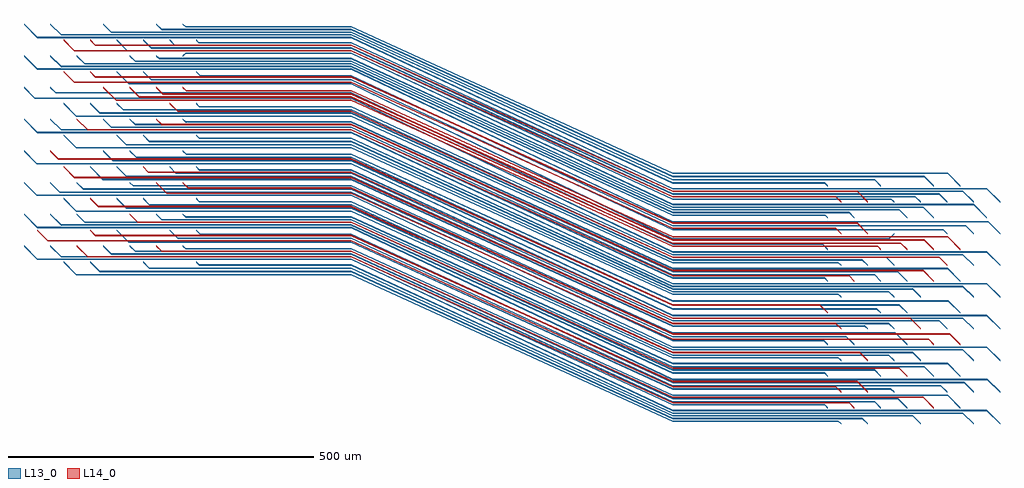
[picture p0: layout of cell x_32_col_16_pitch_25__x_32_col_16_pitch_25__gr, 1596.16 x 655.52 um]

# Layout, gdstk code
import gdstk
lib = gdstk.Library(unit=1e-6, precision=1e-09)
def R(c, l, rs):  # rectangles x0, y0, x1, y1
    for r in rs: c.add(gdstk.rectangle(r[:2], r[2:], *l))
def A(c, l, x, y, w, h, nx, ny, dx, dy):  # array of equal rectangles
    R(c, l, [(x+i*dx, y+j*dy, x+i*dx+w, y+j*dy+h) for i in range(nx) for j in range(ny)])
def P(c, l, *ps):  # polygons
    for p in ps: c.add(gdstk.Polygon(p, *l))
L13_0 = (13, 0)
L14_0 = (14, 0)

x_32_col_16_pitch_25__x_ = lib.new_cell('x_32_col_16_pitch_25__x_32_col_16_pitch_25__gr')
A(x_32_col_16_pitch_25__x_, L13_0, 2400, 1226.56, 271.46, 2, 1, 3, 0, 103.68)
A(x_32_col_16_pitch_25__x_, L13_0, 2400, 1235.2, 392.72, 2, 1, 3, 0, 103.68)
A(x_32_col_16_pitch_25__x_, L13_0, 2400, 1305.184, 248.946, 2, 1, 3, 0, 155.52)
A(x_32_col_16_pitch_25__x_, L13_0, 2400, 1310.368, 330.362, 2, 1, 3, 0, 155.52)
A(x_32_col_16_pitch_25__x_, L13_0, 2400, 1320.736, 449.894, 2, 1, 3, 0, 155.52)
A(x_32_col_16_pitch_25__x_, L13_0, 2400, 1334.56, 353.74, 2, 1, 3, 0, 51.84)
A(x_32_col_16_pitch_25__x_, L13_0, 2400, 1343.2, 475, 2, 1, 4, 0, 51.84)
A(x_32_col_16_pitch_25__x_, L13_0, 2400, 1347.52, 513.982, 2, 1, 4, 0, 51.84)
A(x_32_col_16_pitch_25__x_, L13_0, 1425.106, 1466.224, 449.894, 2, 1, 3, 0, 103.68)
A(x_32_col_16_pitch_25__x_, L13_0, 1544.638, 1476.592, 330.362, 2, 1, 3, 0, 103.68)
A(x_32_col_16_pitch_25__x_, L13_0, 1506.522, 1575.088, 368.478, 2, 1, 3, 0, 51.84)
A(x_32_col_16_pitch_25__x_, L13_0, 1626.054, 1585.456, 248.946, 2, 1, 4, 0, 51.84)
R(x_32_col_16_pitch_25__x_, L13_0, [(2400,1230.88,2710.44,1232.88), (2400,1239.52,2875,1241.52), (2400,1243.84,2913.982,1245.84), (2400,1253.344,2648.946,1255.344), (2400,1258.528,2730.362,1260.528), (2400,1263.712,2768.478,1265.712), (2400,1268.896,2849.894,1270.896), (2400,1279.264,2757.196,1281.264), (2400,1284.448,2838.612,1286.448), (2400,1289.632,2876.728,1291.632), (2400,1294.816,2914.846,1296.816), (2400,1315.552,2811.778,1317.552), (2400,1358.32,2647.65,1360.32), (2400,1364.8,2684.47,1366.8), (2400,1371.28,2764.59,1373.28), (2400,1382.08,2714.76,1384.08), (2400,1390.72,2836.02,1392.72), (2400,1410.16,2734.25,1412.16), (2400,1416.64,2771.07,1418.64), (2400,1423.12,2851.19,1425.12), (2400,1471.072,2768.478,1473.072), (1463.222,1471.408,1875,1473.408), (1626.054,1481.776,1875,1483.776), (2400,1485.76,2671.46,1487.76), (2400,1490.08,2710.44,1492.08), (1361.017,1491.28,1875,1493.28), (2400,1494.4,2749.42,1496.4), (1400,1495.6,1875,1497.6), (1482.28,1499.92,1875,1501.92), (1521.26,1504.24,1875,1506.24), (1603.54,1508.56,1875,1510.56), (2400,1516,2645.49,1518), (1510.41,1519.36,1875,1521.36), (2400,1524.64,2753.74,1526.64), (1590.53,1525.84,1875,1527.84), (1627.35,1532.32,1875,1534.32), (2400,1539.76,2842.5,1541.76), (1361.017,1543.12,1875,1545.12), (2400,1546.24,2879.32,1548.24), (1400,1547.44,1875,1549.44), (1438.98,1551.76,1875,1553.76), (2400,1552.72,2916.142,1554.72), (1564.56,1556.08,1875,1558.08), (1603.54,1560.4,1875,1562.4), (2400,1563.52,2649.81,1565.52), (2400,1567.84,2688.79,1569.84), (2400,1572.16,2771.07,1574.16), (2400,1576.48,2810.05,1578.48), (2400,1580.8,2892.332,1582.8), (2400,1589.44,2758.06,1591.44), (2400,1593.76,2797.04,1595.76), (1360.153,1595.824,1875,1597.824), (2400,1598.08,2836.02,1600.08), (1398.272,1601.008,1875,1603.008), (2400,1602.4,2875,1604.4), (1436.388,1606.192,1875,1608.192), (2400,1606.72,2913.982,1608.72), (1517.804,1611.376,1875,1613.376), (1468.406,1621.744,1875,1623.744), (2400,1626.592,2811.778,1628.592), (1587.938,1632.112,1875,1634.112), (1360.153,1647.664,1875,1649.664), (1484.872,1652.848,1875,1654.848), (1522.988,1658.032,1875,1660.032), (1604.404,1663.216,1875,1665.216), (1361.017,1698.64,1875,1700.64), (1400,1702.96,1875,1704.96), (1482.28,1707.28,1875,1709.28), (1521.26,1711.6,1875,1713.6), (1603.54,1715.92,1875,1717.92), (1425.106,1725.424,1875,1727.424), (1463.222,1730.608,1875,1732.608), (1501.338,1735.792,1875,1737.792), (1356.697,1754.8,1875,1756.8), (1391.36,1763.44,1875,1765.44), (1510.41,1778.56,1875,1780.56), (1547.23,1785.04,1875,1787.04), (1627.35,1791.52,1875,1793.52), (1361.017,1802.32,1875,1804.32), (1400,1806.64,1875,1808.64), (1438.98,1810.96,1875,1812.96), (1521.26,1815.28,1875,1817.28), (1560.24,1819.6,1875,1821.6), (1603.54,1828.24,1875,1830.24), (1508.25,1832.56,1875,1834.56), (1547.23,1836.88,1875,1838.88), (1586.21,1841.2,1875,1843.2), (1625.19,1845.52,1875,1847.52), (1361.017,1854.16,1875,1856.16), (1400,1858.48,1875,1860.48), (1482.28,1862.8,1875,1864.8), (1564.56,1867.12,1875,1869.12), (1603.54,1871.44,1875,1873.44)])
P(x_32_col_16_pitch_25__x_, L13_0, [(2654.13,1611.04),(2654.13,1613.04),(2648.946,1618.224),(2648.946,1616.224)],
  [(2400,1616.224),(2400,1618.224),(1875,1860.48),(1875,1858.48)],
  [(1400,1858.48),(1400,1860.48),(1382.72,1877.76),(1382.72,1875.76)],
  [(2740.73,1611.04),(2740.73,1613.04),(2730.362,1623.408),(2730.362,1621.408)],
  [(2400,1621.408),(2400,1623.408),(1875,1864.8),(1875,1862.8)],
  [(1482.28,1862.8),(1482.28,1864.8),(1469.32,1877.76),(1469.32,1875.76)],
  [(2827.33,1611.04),(2827.33,1613.04),(2811.778,1628.592),(2811.778,1626.592)],
  [(2400,1626.592),(2400,1628.592),(1875,1869.12),(1875,1867.12)],
  [(1564.56,1867.12),(1564.56,1869.12),(1555.92,1877.76),(1555.92,1875.76)],
  [(2870.63,1611.04),(2870.63,1613.04),(2849.894,1633.776),(2849.894,1631.776)],
  [(2400,1631.776),(2400,1633.776),(1875,1873.44),(1875,1871.44)],
  [(1603.54,1871.44),(1603.54,1873.44),(1599.22,1877.76),(1599.22,1875.76)],
  [(2762.38,1585.12),(2762.38,1587.12),(2758.06,1591.44),(2758.06,1589.44)],
  [(2400,1589.44),(2400,1591.44),(1875,1834.56),(1875,1832.56)],
  [(1508.25,1832.56),(1508.25,1834.56),(1490.97,1851.84),(1490.97,1849.84)],
  [(2805.68,1585.12),(2805.68,1587.12),(2797.04,1595.76),(2797.04,1593.76)],
  [(2400,1593.76),(2400,1595.76),(1875,1838.88),(1875,1836.88)],
  [(1547.23,1836.88),(1547.23,1838.88),(1534.27,1851.84),(1534.27,1849.84)],
  [(2848.98,1585.12),(2848.98,1587.12),(2836.02,1600.08),(2836.02,1598.08)],
  [(2400,1598.08),(2400,1600.08),(1875,1843.2),(1875,1841.2)],
  [(1586.21,1841.2),(1586.21,1843.2),(1577.57,1851.84),(1577.57,1849.84)],
  [(2892.28,1585.12),(2892.28,1587.12),(2875,1604.4),(2875,1602.4)],
  [(2400,1602.4),(2400,1604.4),(1875,1847.52),(1875,1845.52)],
  [(1625.19,1845.52),(1625.19,1847.52),(1620.87,1851.84),(1620.87,1849.84)],
  [(2935.582,1585.12),(2935.582,1587.12),(2913.982,1608.72),(2913.982,1606.72)],
  [(2400,1606.72),(2400,1608.72),(1875,1856.16),(1875,1854.16)],
  [(1361.017,1854.16),(1361.017,1856.16),(1339.417,1877.76),(1339.417,1875.76)],
  [(2654.13,1559.2),(2654.13,1561.2),(2649.81,1565.52),(2649.81,1563.52)],
  [(2400,1563.52),(2400,1565.52),(1875,1808.64),(1875,1806.64)],
  [(1400,1806.64),(1400,1808.64),(1382.72,1825.92),(1382.72,1823.92)],
  [(2697.43,1559.2),(2697.43,1561.2),(2688.79,1569.84),(2688.79,1567.84)],
  [(2400,1567.84),(2400,1569.84),(1875,1812.96),(1875,1810.96)],
  [(1438.98,1810.96),(1438.98,1812.96),(1426.02,1825.92),(1426.02,1823.92)],
  [(2784.03,1559.2),(2784.03,1561.2),(2771.07,1574.16),(2771.07,1572.16)],
  [(2400,1572.16),(2400,1574.16),(1875,1817.28),(1875,1815.28)],
  [(1521.26,1815.28),(1521.26,1817.28),(1512.62,1825.92),(1512.62,1823.92)],
  [(2827.33,1559.2),(2827.33,1561.2),(2810.05,1578.48),(2810.05,1576.48)],
  [(2400,1576.48),(2400,1578.48),(1875,1821.6),(1875,1819.6)],
  [(1560.24,1819.6),(1560.24,1821.6),(1555.92,1825.92),(1555.92,1823.92)],
  [(2913.932,1559.2),(2913.932,1561.2),(2892.332,1582.8),(2892.332,1580.8)],
  [(2400,1580.8),(2400,1582.8),(1875,1830.24),(1875,1828.24)],
  [(1603.54,1828.24),(1603.54,1830.24),(1599.22,1825.92),(1599.22,1823.92)],
  [(2762.38,1533.28),(2762.38,1535.28),(2753.74,1526.64),(2753.74,1524.64)],
  [(2400,1524.64),(2400,1526.64),(1875,1780.56),(1875,1778.56)],
  [(1510.41,1778.56),(1510.41,1780.56),(1490.97,1800),(1490.97,1798)],
  [(2848.98,1533.28),(2848.98,1535.28),(2842.5,1541.76),(2842.5,1539.76)],
  [(2400,1539.76),(2400,1541.76),(1875,1787.04),(1875,1785.04)],
  [(1547.23,1785.04),(1547.23,1787.04),(1534.27,1800),(1534.27,1798)],
  [(2892.28,1533.28),(2892.28,1535.28),(2879.32,1548.24),(2879.32,1546.24)],
  [(2400,1546.24),(2400,1548.24),(1875,1793.52),(1875,1791.52)],
  [(1627.35,1791.52),(1627.35,1793.52),(1620.87,1800),(1620.87,1798)],
  [(2935.582,1533.28),(2935.582,1535.28),(2916.142,1554.72),(2916.142,1552.72)],
  [(2400,1552.72),(2400,1554.72),(1875,1804.32),(1875,1802.32)],
  [(1361.017,1802.32),(1361.017,1804.32),(1339.417,1825.92),(1339.417,1823.92)],
  [(2654.13,1507.36),(2654.13,1509.36),(2645.49,1518),(2645.49,1516)],
  [(2400,1516),(2400,1518),(1875,1765.44),(1875,1763.44)],
  [(1391.36,1763.44),(1391.36,1765.44),(1382.72,1774.08),(1382.72,1772.08)],
  [(2675.78,1481.44),(2675.78,1483.44),(2671.46,1487.76),(2671.46,1485.76)],
  [(2400,1485.76),(2400,1487.76),(1875,1727.424),(1875,1725.424)],
  [(1425.106,1725.424),(1425.106,1727.424),(1404.37,1748.16),(1404.37,1746.16)],
  [(2719.08,1481.44),(2719.08,1483.44),(2710.44,1492.08),(2710.44,1490.08)],
  [(2400,1490.08),(2400,1492.08),(1875,1732.608),(1875,1730.608)],
  [(1463.222,1730.608),(1463.222,1732.608),(1447.67,1748.16),(1447.67,1746.16)],
  [(2762.38,1481.44),(2762.38,1483.44),(2749.42,1496.4),(2749.42,1494.4)],
  [(2400,1494.4),(2400,1496.4),(1875,1737.792),(1875,1735.792)],
  [(1501.338,1735.792),(1501.338,1737.792),(1490.97,1748.16),(1490.97,1746.16)],
  [(2892.28,1481.44),(2892.28,1483.44),(2875,1500.72),(2875,1498.72)],
  [(2400,1498.72),(2400,1500.72),(1875,1742.976),(1875,1740.976)],
  [(1626.054,1740.976),(1626.054,1742.976),(1620.87,1748.16),(1620.87,1746.16)],
  [(2935.582,1481.44),(2935.582,1483.44),(2913.982,1505.04),(2913.982,1503.04)],
  [(2400,1503.04),(2400,1505.04),(1875,1756.8),(1875,1754.8)],
  [(1356.697,1754.8),(1356.697,1756.8),(1339.417,1774.08),(1339.417,1772.08)],
  [(2654.13,1455.52),(2654.13,1457.52),(2648.946,1462.704),(2648.946,1460.704)],
  [(2400,1460.704),(2400,1462.704),(1875,1704.96),(1875,1702.96)],
  [(1400,1702.96),(1400,1704.96),(1382.72,1722.24),(1382.72,1720.24)],
  [(2740.73,1455.52),(2740.73,1457.52),(2730.362,1467.888),(2730.362,1465.888)],
  [(2400,1465.888),(2400,1467.888),(1875,1709.28),(1875,1707.28)],
  [(1482.28,1707.28),(1482.28,1709.28),(1469.32,1722.24),(1469.32,1720.24)],
  [(2784.03,1455.52),(2784.03,1457.52),(2768.478,1473.072),(2768.478,1471.072)],
  [(2400,1471.072),(2400,1473.072),(1875,1713.6),(1875,1711.6)],
  [(1521.26,1711.6),(1521.26,1713.6),(1512.62,1722.24),(1512.62,1720.24)],
  [(2870.63,1455.52),(2870.63,1457.52),(2849.894,1478.256),(2849.894,1476.256)],
  [(2400,1476.256),(2400,1478.256),(1875,1717.92),(1875,1715.92)],
  [(1603.54,1715.92),(1603.54,1717.92),(1599.22,1722.24),(1599.22,1720.24)],
  [(2675.78,1429.6),(2675.78,1431.6),(2671.46,1435.92),(2671.46,1433.92)],
  [(2400,1433.92),(2400,1435.92),(1875,1675.584),(1875,1673.584)],
  [(1425.106,1673.584),(1425.106,1675.584),(1404.37,1696.32),(1404.37,1694.32)],
  [(2762.38,1429.6),(2762.38,1431.6),(2753.74,1440.24),(2753.74,1438.24)],
  [(2400,1438.24),(2400,1440.24),(1875,1680.768),(1875,1678.768)],
  [(1506.522,1678.768),(1506.522,1680.768),(1490.97,1696.32),(1490.97,1694.32)],
  [(2805.68,1429.6),(2805.68,1431.6),(2792.72,1444.56),(2792.72,1442.56)],
  [(2400,1442.56),(2400,1444.56),(1875,1685.952),(1875,1683.952)],
  [(1544.638,1683.952),(1544.638,1685.952),(1534.27,1696.32),(1534.27,1694.32)],
  [(2892.28,1429.6),(2892.28,1431.6),(2875,1448.88),(2875,1446.88)],
  [(2400,1446.88),(2400,1448.88),(1875,1691.136),(1875,1689.136)],
  [(1626.054,1689.136),(1626.054,1691.136),(1620.87,1696.32),(1620.87,1694.32)],
  [(2935.582,1429.6),(2935.582,1431.6),(2913.982,1453.2),(2913.982,1451.2)],
  [(2400,1451.2),(2400,1453.2),(1875,1700.64),(1875,1698.64)],
  [(1361.017,1698.64),(1361.017,1700.64),(1339.417,1722.24),(1339.417,1720.24)],
  [(2740.73,1403.68),(2740.73,1405.68),(2734.25,1412.16),(2734.25,1410.16)],
  [(2400,1410.16),(2400,1412.16),(1875,1654.848),(1875,1652.848)],
  [(1484.872,1652.848),(1484.872,1654.848),(1469.32,1670.4),(1469.32,1668.4)],
  [(2784.03,1403.68),(2784.03,1405.68),(2771.07,1418.64),(2771.07,1416.64)],
  [(2400,1416.64),(2400,1418.64),(1875,1660.032),(1875,1658.032)],
  [(1522.988,1658.032),(1522.988,1660.032),(1512.62,1670.4),(1512.62,1668.4)],
  [(2870.63,1403.68),(2870.63,1405.68),(2851.19,1425.12),(2851.19,1423.12)],
  [(2400,1423.12),(2400,1425.12),(1875,1665.216),(1875,1663.216)],
  [(1604.404,1663.216),(1604.404,1665.216),(1599.22,1670.4),(1599.22,1668.4)],
  [(2719.08,1377.76),(2719.08,1379.76),(2714.76,1384.08),(2714.76,1382.08)],
  [(2400,1382.08),(2400,1384.08),(1875,1623.744),(1875,1621.744)],
  [(1468.406,1621.744),(1468.406,1623.744),(1447.67,1644.48),(1447.67,1642.48)],
  [(2762.38,1377.76),(2762.38,1379.76),(2753.74,1388.4),(2753.74,1386.4)],
  [(2400,1386.4),(2400,1388.4),(1875,1628.928),(1875,1626.928)],
  [(1506.522,1626.928),(1506.522,1628.928),(1490.97,1644.48),(1490.97,1642.48)],
  [(2848.98,1377.76),(2848.98,1379.76),(2836.02,1392.72),(2836.02,1390.72)],
  [(2400,1390.72),(2400,1392.72),(1875,1634.112),(1875,1632.112)],
  [(1587.938,1632.112),(1587.938,1634.112),(1577.57,1644.48),(1577.57,1642.48)],
  [(2892.28,1377.76),(2892.28,1379.76),(2875,1397.04),(2875,1395.04)],
  [(2400,1395.04),(2400,1397.04),(1875,1639.296),(1875,1637.296)],
  [(1626.054,1637.296),(1626.054,1639.296),(1620.87,1644.48),(1620.87,1642.48)],
  [(2935.582,1377.76),(2935.582,1379.76),(2913.982,1401.36),(2913.982,1399.36)],
  [(2400,1399.36),(2400,1401.36),(1875,1649.664),(1875,1647.664)],
  [(1360.153,1647.664),(1360.153,1649.664),(1339.417,1670.4),(1339.417,1668.4)],
  [(2654.13,1351.84),(2654.13,1353.84),(2647.65,1360.32),(2647.65,1358.32)],
  [(2400,1358.32),(2400,1360.32),(1875,1603.008),(1875,1601.008)],
  [(1398.272,1601.008),(1398.272,1603.008),(1382.72,1618.56),(1382.72,1616.56)],
  [(2697.43,1351.84),(2697.43,1353.84),(2684.47,1366.8),(2684.47,1364.8)],
  [(2400,1364.8),(2400,1366.8),(1875,1608.192),(1875,1606.192)],
  [(1436.388,1606.192),(1436.388,1608.192),(1426.02,1618.56),(1426.02,1616.56)],
  [(2784.03,1351.84),(2784.03,1353.84),(2764.59,1373.28),(2764.59,1371.28)],
  [(2400,1371.28),(2400,1373.28),(1875,1613.376),(1875,1611.376)],
  [(1517.804,1611.376),(1517.804,1613.376),(1512.62,1618.56),(1512.62,1616.56)],
  [(2675.78,1325.92),(2675.78,1327.92),(2671.46,1332.24),(2671.46,1330.24)],
  [(2400,1330.24),(2400,1332.24),(1875,1571.904),(1875,1569.904)],
  [(1425.106,1569.904),(1425.106,1571.904),(1404.37,1592.64),(1404.37,1590.64)],
  [(2762.38,1325.92),(2762.38,1327.92),(2753.74,1336.56),(2753.74,1334.56)],
  [(2400,1334.56),(2400,1336.56),(1875,1577.088),(1875,1575.088)],
  [(1506.522,1575.088),(1506.522,1577.088),(1490.97,1592.64),(1490.97,1590.64)],
  [(2805.68,1325.92),(2805.68,1327.92),(2792.72,1340.88),(2792.72,1338.88)],
  [(2400,1338.88),(2400,1340.88),(1875,1582.272),(1875,1580.272)],
  [(1544.638,1580.272),(1544.638,1582.272),(1534.27,1592.64),(1534.27,1590.64)],
  [(2892.28,1325.92),(2892.28,1327.92),(2875,1345.2),(2875,1343.2)],
  [(2400,1343.2),(2400,1345.2),(1875,1587.456),(1875,1585.456)],
  [(1626.054,1585.456),(1626.054,1587.456),(1620.87,1592.64),(1620.87,1590.64)],
  [(2935.582,1325.92),(2935.582,1327.92),(2913.982,1349.52),(2913.982,1347.52)],
  [(2400,1347.52),(2400,1349.52),(1875,1597.824),(1875,1595.824)],
  [(1360.153,1595.824),(1360.153,1597.824),(1339.417,1618.56),(1339.417,1616.56)],
  [(2654.13,1300),(2654.13,1302),(2648.946,1307.184),(2648.946,1305.184)],
  [(2400,1305.184),(2400,1307.184),(1875,1549.44),(1875,1547.44)],
  [(1400,1547.44),(1400,1549.44),(1382.72,1566.72),(1382.72,1564.72)],
  [(2740.73,1300),(2740.73,1302),(2730.362,1312.368),(2730.362,1310.368)],
  [(2400,1310.368),(2400,1312.368),(1875,1553.76),(1875,1551.76)],
  [(1438.98,1551.76),(1438.98,1553.76),(1426.02,1566.72),(1426.02,1564.72)],
  [(2827.33,1300),(2827.33,1302),(2811.778,1317.552),(2811.778,1315.552)],
  [(2400,1315.552),(2400,1317.552),(1875,1558.08),(1875,1556.08)],
  [(1564.56,1556.08),(1564.56,1558.08),(1555.92,1566.72),(1555.92,1564.72)],
  [(2870.63,1300),(2870.63,1302),(2849.894,1322.736),(2849.894,1320.736)],
  [(2400,1320.736),(2400,1322.736),(1875,1562.4),(1875,1560.4)],
  [(1603.54,1560.4),(1603.54,1562.4),(1599.22,1566.72),(1599.22,1564.72)],
  [(2762.38,1274.08),(2762.38,1276.08),(2757.196,1281.264),(2757.196,1279.264)],
  [(2400,1279.264),(2400,1281.264),(1875,1521.36),(1875,1519.36)],
  [(1510.41,1519.36),(1510.41,1521.36),(1490.97,1540.8),(1490.97,1538.8)],
  [(2848.98,1274.08),(2848.98,1276.08),(2838.612,1286.448),(2838.612,1284.448)],
  [(2400,1284.448),(2400,1286.448),(1875,1527.84),(1875,1525.84)],
  [(1590.53,1525.84),(1590.53,1527.84),(1577.57,1540.8),(1577.57,1538.8)],
  [(2892.28,1274.08),(2892.28,1276.08),(2876.728,1291.632),(2876.728,1289.632)],
  [(2400,1289.632),(2400,1291.632),(1875,1534.32),(1875,1532.32)],
  [(1627.35,1532.32),(1627.35,1534.32),(1620.87,1540.8),(1620.87,1538.8)],
  [(2935.582,1274.08),(2935.582,1276.08),(2914.846,1296.816),(2914.846,1294.816)],
  [(2400,1294.816),(2400,1296.816),(1875,1545.12),(1875,1543.12)],
  [(1361.017,1543.12),(1361.017,1545.12),(1339.417,1566.72),(1339.417,1564.72)],
  [(2654.13,1248.16),(2654.13,1250.16),(2648.946,1255.344),(2648.946,1253.344)],
  [(2400,1253.344),(2400,1255.344),(1875,1497.6),(1875,1495.6)],
  [(1400,1495.6),(1400,1497.6),(1382.72,1514.88),(1382.72,1512.88)],
  [(2740.73,1248.16),(2740.73,1250.16),(2730.362,1260.528),(2730.362,1258.528)],
  [(2400,1258.528),(2400,1260.528),(1875,1501.92),(1875,1499.92)],
  [(1482.28,1499.92),(1482.28,1501.92),(1469.32,1514.88),(1469.32,1512.88)],
  [(2784.03,1248.16),(2784.03,1250.16),(2768.478,1265.712),(2768.478,1263.712)],
  [(2400,1263.712),(2400,1265.712),(1875,1506.24),(1875,1504.24)],
  [(1521.26,1504.24),(1521.26,1506.24),(1512.62,1514.88),(1512.62,1512.88)],
  [(2870.63,1248.16),(2870.63,1250.16),(2849.894,1270.896),(2849.894,1268.896)],
  [(2400,1268.896),(2400,1270.896),(1875,1510.56),(1875,1508.56)],
  [(1603.54,1508.56),(1603.54,1510.56),(1599.22,1514.88),(1599.22,1512.88)],
  [(2675.78,1222.24),(2675.78,1224.24),(2671.46,1228.56),(2671.46,1226.56)],
  [(2400,1226.56),(2400,1228.56),(1875,1468.224),(1875,1466.224)],
  [(1425.106,1466.224),(1425.106,1468.224),(1404.37,1488.96),(1404.37,1486.96)],
  [(2719.08,1222.24),(2719.08,1224.24),(2710.44,1232.88),(2710.44,1230.88)],
  [(2400,1230.88),(2400,1232.88),(1875,1473.408),(1875,1471.408)],
  [(1463.222,1471.408),(1463.222,1473.408),(1447.67,1488.96),(1447.67,1486.96)],
  [(2805.68,1222.24),(2805.68,1224.24),(2792.72,1237.2),(2792.72,1235.2)],
  [(2400,1235.2),(2400,1237.2),(1875,1478.592),(1875,1476.592)],
  [(1544.638,1476.592),(1544.638,1478.592),(1534.27,1488.96),(1534.27,1486.96)],
  [(2892.28,1222.24),(2892.28,1224.24),(2875,1241.52),(2875,1239.52)],
  [(2400,1239.52),(2400,1241.52),(1875,1483.776),(1875,1481.776)],
  [(1626.054,1481.776),(1626.054,1483.776),(1620.87,1488.96),(1620.87,1486.96)],
  [(2935.582,1222.24),(2935.582,1224.24),(2913.982,1245.84),(2913.982,1243.84)],
  [(2400,1243.84),(2400,1245.84),(1875,1493.28),(1875,1491.28)],
  [(1361.017,1491.28),(1361.017,1493.28),(1339.417,1514.88),(1339.417,1512.88)])
R(x_32_col_16_pitch_25__x_, L14_0, [(2400,1256.8,2688.79,1258.8), (2400,1265.44,2810.05,1267.44), (2400,1282.72,2667.14,1284.72), (2400,1291.36,2701.8,1293.36), (2400,1312.96,2771.07,1314.96), (2400,1338.88,2706.12,1340.88), (2400,1360.48,2818.69,1362.48), (2400,1369.12,2853.35,1371.12), (2400,1386.4,2667.14,1388.4), (2400,1395.04,2788.4,1397.04), (2400,1416.64,2641.17,1418.64), (2400,1464.16,2688.79,1466.16), (2400,1472.8,2810.05,1474.8), (2400,1494.4,2836.02,1496.4), (1443.3,1495.6,1875,1497.6), (1564.56,1504.24,1875,1506.24), (2400,1512.544,2735.546,1514.544), (2400,1517.728,2773.662,1519.728), (1378.347,1521.52,1875,1523.52), (2400,1522.912,2811.778,1524.912), (2400,1528.096,2849.894,1530.096), (1456.31,1530.16,1875,1532.16), (2400,1541.92,2667.14,1543.92), (2400,1550.56,2701.8,1552.56), (1525.58,1551.76,1875,1553.76), (1460.63,1577.68,1875,1579.68), (2400,1593.76,2667.14,1595.76), (1573.2,1599.28,1875,1601.28), (2400,1602.4,2701.8,1604.4), (1607.86,1607.92,1875,1609.92), (1421.65,1625.2,1875,1627.2), (1542.91,1633.84,1875,1635.84), (1395.68,1655.44,1875,1657.44), (1443.3,1702.96,1875,1704.96), (1564.56,1711.6,1875,1713.6), (1590.53,1733.2,1875,1735.2), (1490.056,1751.344,1875,1753.344), (1528.172,1756.528,1875,1758.528), (1566.288,1761.712,1875,1763.712), (1604.404,1766.896,1875,1768.896), (1421.65,1780.72,1875,1782.72), (1456.31,1789.36,1875,1791.36), (1421.65,1832.56,1875,1834.56), (1456.31,1841.2,1875,1843.2)])
P(x_32_col_16_pitch_25__x_, L14_0, [(2675.78,1585.12),(2675.78,1587.12),(2667.14,1595.76),(2667.14,1593.76)],
  [(2400,1593.76),(2400,1595.76),(1875,1834.56),(1875,1832.56)],
  [(1421.65,1832.56),(1421.65,1834.56),(1404.37,1851.84),(1404.37,1849.84)],
  [(2719.08,1585.12),(2719.08,1587.12),(2701.8,1604.4),(2701.8,1602.4)],
  [(2400,1602.4),(2400,1604.4),(1875,1843.2),(1875,1841.2)],
  [(1456.31,1841.2),(1456.31,1843.2),(1447.67,1851.84),(1447.67,1849.84)],
  [(2675.78,1533.28),(2675.78,1535.28),(2667.14,1543.92),(2667.14,1541.92)],
  [(2400,1541.92),(2400,1543.92),(1875,1782.72),(1875,1780.72)],
  [(1421.65,1780.72),(1421.65,1782.72),(1404.37,1800),(1404.37,1798)],
  [(2719.08,1533.28),(2719.08,1535.28),(2701.8,1552.56),(2701.8,1550.56)],
  [(2400,1550.56),(2400,1552.56),(1875,1791.36),(1875,1789.36)],
  [(1456.31,1789.36),(1456.31,1791.36),(1447.67,1800),(1447.67,1798)],
  [(2740.73,1507.36),(2740.73,1509.36),(2735.546,1514.544),(2735.546,1512.544)],
  [(2400,1512.544),(2400,1514.544),(1875,1753.344),(1875,1751.344)],
  [(1490.056,1751.344),(1490.056,1753.344),(1469.32,1774.08),(1469.32,1772.08)],
  [(2784.03,1507.36),(2784.03,1509.36),(2773.662,1519.728),(2773.662,1517.728)],
  [(2400,1517.728),(2400,1519.728),(1875,1758.528),(1875,1756.528)],
  [(1528.172,1756.528),(1528.172,1758.528),(1512.62,1774.08),(1512.62,1772.08)],
  [(2827.33,1507.36),(2827.33,1509.36),(2811.778,1524.912),(2811.778,1522.912)],
  [(2400,1522.912),(2400,1524.912),(1875,1763.712),(1875,1761.712)],
  [(1566.288,1761.712),(1566.288,1763.712),(1555.92,1774.08),(1555.92,1772.08)],
  [(2870.63,1507.36),(2870.63,1509.36),(2849.894,1530.096),(2849.894,1528.096)],
  [(2400,1528.096),(2400,1530.096),(1875,1768.896),(1875,1766.896)],
  [(1604.404,1766.896),(1604.404,1768.896),(1599.22,1774.08),(1599.22,1772.08)],
  [(2848.98,1481.44),(2848.98,1483.44),(2836.02,1496.4),(2836.02,1494.4)],
  [(2400,1494.4),(2400,1496.4),(1875,1735.2),(1875,1733.2)],
  [(1590.53,1733.2),(1590.53,1735.2),(1577.57,1748.16),(1577.57,1746.16)],
  [(2697.43,1455.52),(2697.43,1457.52),(2688.79,1466.16),(2688.79,1464.16)],
  [(2400,1464.16),(2400,1466.16),(1875,1704.96),(1875,1702.96)],
  [(1443.3,1702.96),(1443.3,1704.96),(1426.02,1722.24),(1426.02,1720.24)],
  [(2827.33,1455.52),(2827.33,1457.52),(2810.05,1474.8),(2810.05,1472.8)],
  [(2400,1472.8),(2400,1474.8),(1875,1713.6),(1875,1711.6)],
  [(1564.56,1711.6),(1564.56,1713.6),(1555.92,1722.24),(1555.92,1720.24)],
  [(2654.13,1403.68),(2654.13,1405.68),(2641.17,1418.64),(2641.17,1416.64)],
  [(2400,1416.64),(2400,1418.64),(1875,1657.44),(1875,1655.44)],
  [(1395.68,1655.44),(1395.68,1657.44),(1382.72,1670.4),(1382.72,1668.4)],
  [(2675.78,1377.76),(2675.78,1379.76),(2667.14,1388.4),(2667.14,1386.4)],
  [(2400,1386.4),(2400,1388.4),(1875,1627.2),(1875,1625.2)],
  [(1421.65,1625.2),(1421.65,1627.2),(1404.37,1644.48),(1404.37,1642.48)],
  [(2805.68,1377.76),(2805.68,1379.76),(2788.4,1397.04),(2788.4,1395.04)],
  [(2400,1395.04),(2400,1397.04),(1875,1635.84),(1875,1633.84)],
  [(1542.91,1633.84),(1542.91,1635.84),(1534.27,1644.48),(1534.27,1642.48)],
  [(2827.33,1351.84),(2827.33,1353.84),(2818.69,1362.48),(2818.69,1360.48)],
  [(2400,1360.48),(2400,1362.48),(1875,1601.28),(1875,1599.28)],
  [(1573.2,1599.28),(1573.2,1601.28),(1555.92,1618.56),(1555.92,1616.56)],
  [(2870.63,1351.84),(2870.63,1353.84),(2853.35,1371.12),(2853.35,1369.12)],
  [(2400,1369.12),(2400,1371.12),(1875,1609.92),(1875,1607.92)],
  [(1607.86,1607.92),(1607.86,1609.92),(1599.22,1618.56),(1599.22,1616.56)],
  [(2719.08,1325.92),(2719.08,1327.92),(2706.12,1340.88),(2706.12,1338.88)],
  [(2400,1338.88),(2400,1340.88),(1875,1579.68),(1875,1577.68)],
  [(1460.63,1577.68),(1460.63,1579.68),(1447.67,1592.64),(1447.67,1590.64)],
  [(2784.03,1300),(2784.03,1302),(2771.07,1314.96),(2771.07,1312.96)],
  [(2400,1312.96),(2400,1314.96),(1875,1553.76),(1875,1551.76)],
  [(1525.58,1551.76),(1525.58,1553.76),(1512.62,1566.72),(1512.62,1564.72)],
  [(2675.78,1274.08),(2675.78,1276.08),(2667.14,1284.72),(2667.14,1282.72)],
  [(2400,1282.72),(2400,1284.72),(1875,1523.52),(1875,1521.52)],
  [(1378.347,1521.52),(1378.347,1523.52),(1361.067,1540.8),(1361.067,1538.8)],
  [(2719.08,1274.08),(2719.08,1276.08),(2701.8,1293.36),(2701.8,1291.36)],
  [(2400,1291.36),(2400,1293.36),(1875,1532.16),(1875,1530.16)],
  [(1456.31,1530.16),(1456.31,1532.16),(1447.67,1540.8),(1447.67,1538.8)],
  [(2697.43,1248.16),(2697.43,1250.16),(2688.79,1258.8),(2688.79,1256.8)],
  [(2400,1256.8),(2400,1258.8),(1875,1497.6),(1875,1495.6)],
  [(1443.3,1495.6),(1443.3,1497.6),(1426.02,1514.88),(1426.02,1512.88)],
  [(2827.33,1248.16),(2827.33,1250.16),(2810.05,1267.44),(2810.05,1265.44)],
  [(2400,1265.44),(2400,1267.44),(1875,1506.24),(1875,1504.24)],
  [(1564.56,1504.24),(1564.56,1506.24),(1555.92,1514.88),(1555.92,1512.88)])

lib.write_gds('x_32_col_16_pitch_25__x_32_col_16_pitch_25__gr.gds')
